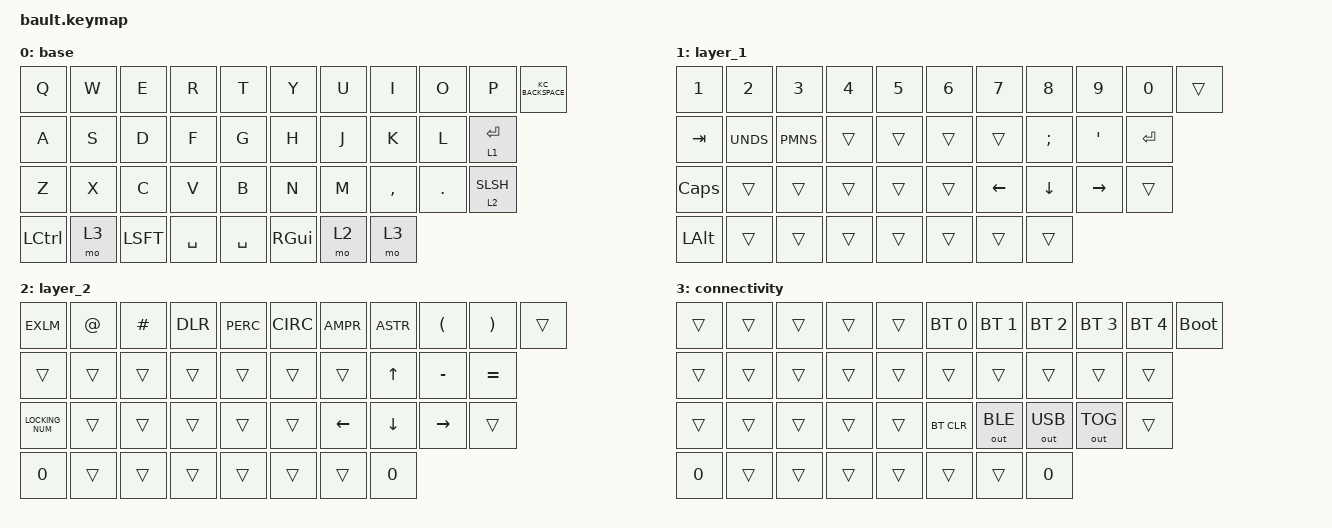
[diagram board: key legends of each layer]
#include <behaviors.dtsi>
#include <dt-bindings/zmk/keys.h>
#include <dt-bindings/zmk/bt.h>
#include <dt-bindings/zmk/outputs.h>

/ {

    behaviors {
        hm: homerow_mods {
            compatible = "zmk,behavior-hold-tap";
            display-name = "Homerow Mods";
            bindings = <&kp>, <&kp>;

            #binding-cells = <2>;
            tapping-term-ms = <200>;
            quick-tap-ms = <180>;
            require-prior-idle-ms = <0>;
            flavor = "tap-preferred";
        };
    };


    keymap {
        compatible = "zmk,keymap";

        base {
            bindings = <
                &kp Q      &kp W      &kp E      &kp R      &kp T      &kp Y      &kp U      &kp I      &kp O      &kp P      &kp KC_BACKSPACE
                &kp A  &kp S  &kp D  &kp F  &kp G      &kp H      &kp J  &kp K  &kp L  &lt 1 ENTER
                &kp Z      &kp X      &kp C      &kp V      &kp B      &kp N      &kp M      &kp COMMA      &kp PERIOD      &lt 2 SLSH
                &kp LCTL      &mo 3      &kp LSFT     &kp SPACE      &kp SPACE      &kp RGUI      &mo 2      &mo 3
            >;
        };


        layer_1 {
            bindings = <
                &kp 1  &kp 2  &kp 3  &kp 4  &kp 5  &kp 6  &kp 7    &kp 8    &kp 9     &kp 0     &trans
                &kp TAB  &kp UNDS  &kp PMNS  &trans  &trans  &trans  &trans    &kp SCLN    &kp QUOT  &kp ENTER
                &kp CAPS  &trans  &trans  &trans  &trans  &trans  &kp LEFT  &kp DOWN  &kp RIGHT  &trans
                &kp LALT   &trans  &trans  &trans  &trans  &trans    &trans &trans
            >;
        };

        layer_2 {
            bindings = <
                &kp EXLM  &kp AT  &kp HASH  &kp DLR  &kp PERC  &kp CIRC  &kp AMPR    &kp ASTR    &kp LPRN     &kp RPRN     &trans
                &trans  &trans  &trans  &trans  &trans  &trans  &trans    &kp UP    &kp MINUS  &kp EQUAL
                &kp LOCKING_NUM  &trans  &trans  &trans  &trans  &trans  &kp LEFT  &kp DOWN  &kp RIGHT  &trans
                &kp N0   &trans  &trans  &trans  &trans  &trans    &trans &kp N0
            >;
        };


        connectivity {
            bindings = <
                &trans  &trans  &trans  &trans  &trans  &bt BT_SEL 0  &bt BT_SEL 1  &bt BT_SEL 2  &bt BT_SEL 3  &bt BT_SEL 4  &bootloader
                &trans  &trans  &trans  &trans  &trans  &trans        &trans        &trans        &trans        &trans
                &trans  &trans  &trans  &trans  &trans  &bt BT_CLR    &out OUT_BLE  &out OUT_USB  &out OUT_TOG  &trans
                &kp N0   &trans  &trans  &trans  &trans        &trans        &trans &kp N0
            >;
        };
    };
};
